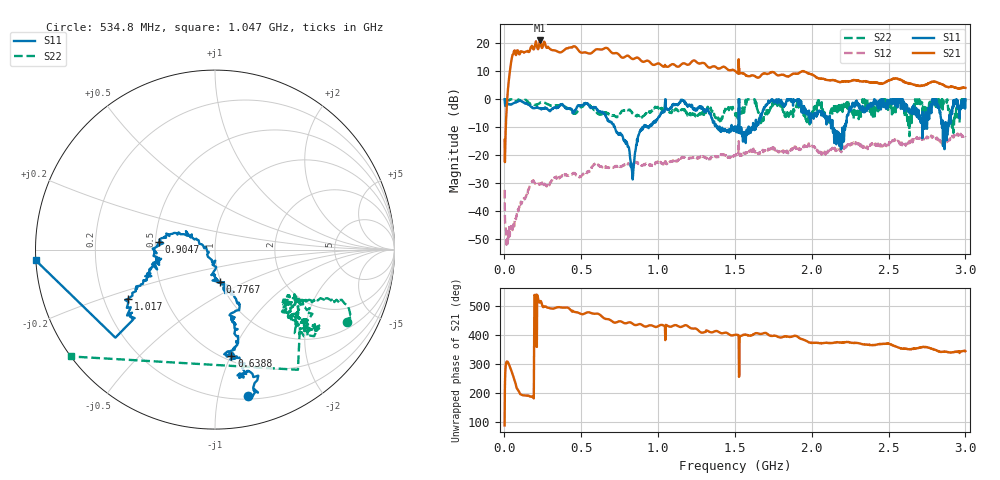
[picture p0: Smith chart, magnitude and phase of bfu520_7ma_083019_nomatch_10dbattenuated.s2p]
! created by kelvin at Fri Aug 30 08:42:55 EDT 2019
! generated using vna/J Version 3.3.2
# Hz S DB R 50.0
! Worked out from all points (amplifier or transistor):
!   1501 points, 1 MHz to 3 GHz, reference 50 ohm
!   highest |S21| = 21.0 dB at 230.9 MHz (marker M1)
!   |S21| within 3 dB of that: 220.1 MHz to 295.5 MHz (75.37 MHz wide, 29.2 % of centre)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
!   unconditionally stable (mu >= 1): 684.6 MHz to 778.8 MHz; 1.323 GHz to 1.433 GHz; 1.959 GHz to 2.014 GHz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
!   at 500.8 MHz: K = 0.33, MSG = 22.0 dB, |S12| = -27.4 dB
!   at 1.5 GHz: K = 0.93, MSG = 15.1 dB, |S12| = -20.0 dB
!   at 3 GHz: K = 0.64, MSG = 8.8 dB, |S12| = -13.5 dB
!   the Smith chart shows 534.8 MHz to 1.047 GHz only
!   S11 on the Smith chart (normalised r, x): 534.8 MHz: 0.23, -1.23; 638.8 MHz: 0.54, -1.01; 776.7 MHz: 0.99, -0.37; 904.7 MHz: 0.52, +0.05; 1.017 GHz: 0.30, -0.24; 1.047 GHz: -0.00, -0.03
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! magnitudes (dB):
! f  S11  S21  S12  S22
! 1 MHz  0.0  -14.5  -32.4  0.0
! 54.98 MHz  -1.6  16.1  -45.5  0.0
! 230.9 MHz  -3.2  21.0  -30.2  -1.4
! 500.8 MHz  -2.2  16.6  -27.4  -2.9
! 534.8 MHz  -1.5  16.6  -26.1  -1.5
! 638.8 MHz  -4.4  17.9  -24.1  -4.9
! 776.7 MHz  -14.7  14.9  -23.6  -4.1
! 832.7 MHz  -27.6  14.4  -23.0  -4.8
! 904.7 MHz  -10.0  13.4  -23.4  -6.0
! 1.001 GHz  -6.7  12.8  -22.7  -3.1
! 1.017 GHz  -5.1  12.4  -22.8  -3.2
! 1.047 GHz  0.0  11.9  -22.1  0.0
! 1.5 GHz  -9.6  10.2  -20.0  -4.9
! 1.738 GHz  0.0  9.7  -17.5  -2.0
! 2 GHz  -6.2  8.9  -16.6  -5.5
! 2.184 GHz  -14.9  6.1  -18.2  -3.3
! 2.28 GHz  -1.5  6.8  -15.6  -4.6
! 2.5 GHz  -1.6  6.7  -16.4  -2.6
! 2.8 GHz  -1.9  6.3  -13.3  0.0
! 2.868 GHz  -8.2  4.7  -14.9  0.0
! 2.918 GHz  -2.8  4.5  -13.4  -8.3
! 3 GHz  0.0  4.1  -13.5  0.0
